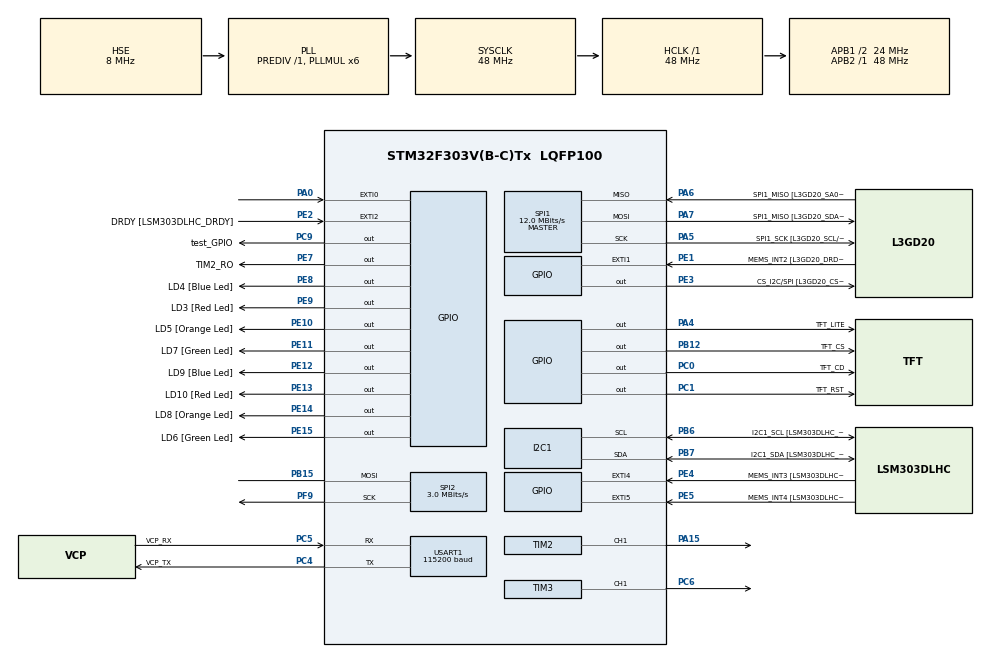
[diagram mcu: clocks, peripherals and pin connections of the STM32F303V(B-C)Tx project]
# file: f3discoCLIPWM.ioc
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I2C1.Timing-I2C=0x2000090E
Mcu.Family=STM32F3
Mcu.Name=STM32F303V(B-C)Tx
Mcu.Package=LQFP100
NVIC.EXTI0_IRQn=true\:0\:0\:false\:true\:true\:1\:true\:true\:true
NVIC.PriorityGroup=NVIC_PRIORITYGROUP_0
NVIC.TIM2_IRQn=true\:0\:0\:false\:false\:true\:true\:true\:true
NVIC.USART1_IRQn=true\:0\:0\:false\:false\:true\:true\:true\:true
PA0.Signal=GPXTI0
PA11.GPIO_Label=DM
PA11.Signal=USB_DM
PA12.GPIO_Label=DP
PA12.Signal=USB_DP
PA13.GPIO_Label=SWDIO
PA13.Mode=Serial_Wire
PA13.Signal=SYS_JTMS-SWDIO
PA14.GPIO_Label=SWCLK
PA14.Mode=Serial_Wire
PA14.Signal=SYS_JTCK-SWCLK
PA15.Signal=S_TIM2_CH1_ETR
PA4.GPIO_Label=TFT_LITE
PA4.Signal=GPIO_Output
PA5.GPIO_Label=SPI1_SCK [L3GD20_SCL/SPC]
PA5.Mode=Full_Duplex_Master
PA5.Signal=SPI1_SCK
PA6.GPIO_Label=SPI1_MISO [L3GD20_SA0/SDO]
PA6.Mode=Full_Duplex_Master
PA6.Signal=SPI1_MISO
PA7.GPIO_Label=SPI1_MISO [L3GD20_SDA/SDI/SDO]
PA7.Mode=Full_Duplex_Master
PA7.Signal=SPI1_MOSI
PB12.GPIO_Label=TFT_CS
PB12.Signal=GPIO_Output
PB15.Mode=Simplex_Bidirectional_Master
PB15.Signal=SPI2_MOSI
PB3.GPIO_Label=SWO
PB3.Signal=SYS_JTDO-TRACESWO
PB6.GPIO_Label=I2C1_SCL [LSM303DLHC_SCL]
PB6.GPIO_Pu=GPIO_PULLUP
PB6.Mode=I2C
PB6.Signal=I2C1_SCL
PB7.GPIO_Label=I2C1_SDA [LSM303DLHC_SDA]
PB7.GPIO_Pu=GPIO_PULLUP
PB7.Mode=I2C
PB7.Signal=I2C1_SDA
PC0.GPIO_Label=TFT_CD
PC0.Signal=GPIO_Output
PC1.GPIO_Label=TFT_RST
PC1.Signal=GPIO_Output
PC14-OSC32_IN.GPIO_Label=OSC32_IN
PC14-OSC32_IN.Signal=RCC_OSC32_IN
PC15-OSC32_OUT.GPIO_Label=OSC32_OUT
PC15-OSC32_OUT.Signal=RCC_OSC32_OUT
PC4.GPIO_Label=VCP_TX
PC4.Mode=Asynchronous
PC4.Signal=USART1_TX
PC5.GPIO_Label=VCP_RX
PC5.Mode=Asynchronous
PC5.Signal=USART1_RX
PC6.Signal=S_TIM3_CH1
PC9.GPIO_Label=test_GPIO
PC9.Signal=GPIO_Output
PE1.GPIO_Label=MEMS_INT2 [L3GD20_DRDY/INT2]
PE1.GPIO_ModeDefaultEXTI=GPIO_MODE_EVT_RISING
PE1.Signal=GPXTI1
PE10.GPIO_Label=LD5 [Orange Led]
PE10.Signal=GPIO_Output
PE11.GPIO_Label=LD7 [Green Led]
PE11.Signal=GPIO_Output
PE12.GPIO_Label=LD9 [Blue Led]
PE12.Signal=GPIO_Output
PE13.GPIO_Label=LD10 [Red Led]
PE13.Signal=GPIO_Output
PE14.GPIO_Label=LD8 [Orange Led]
PE14.Signal=GPIO_Output
PE15.GPIO_Label=LD6 [Green Led]
PE15.Signal=GPIO_Output
PE2.GPIO_Label=DRDY [LSM303DLHC_DRDY]
PE2.GPIO_ModeDefaultEXTI=GPIO_MODE_EVT_RISING
PE2.Signal=GPXTI2
PE3.GPIO_Label=CS_I2C/SPI [L3GD20_CS_I2C/SPI]
PE3.Signal=GPIO_Output
PE4.GPIO_Label=MEMS_INT3 [LSM303DLHC_INT1]
PE4.GPIO_ModeDefaultEXTI=GPIO_MODE_EVT_RISING
PE4.Signal=GPXTI4
PE5.GPIO_Label=MEMS_INT4 [LSM303DLHC_INT2]
PE5.GPIO_ModeDefaultEXTI=GPIO_MODE_EVT_RISING
PE5.Signal=GPXTI5
PE7.GPIO_Label=TIM2_RO
PE7.Signal=GPIO_Output
PE8.GPIO_Label=LD4 [Blue Led]
PE8.Signal=GPIO_Output
PE9.GPIO_Label=LD3 [Red Led]
PE9.Signal=GPIO_Output
PF0-OSC_IN.GPIO_Label=OSC_IN
PF0-OSC_IN.Mode=HSE-External-Clock-Source
PF0-OSC_IN.Signal=RCC_OSC_IN
PF1-OSC_OUT.GPIO_Label=OSC_OUT
PF1-OSC_OUT.Signal=RCC_OSC_OUT
PF9.Mode=Simplex_Bidirectional_Master
PF9.Signal=SPI2_SCK
ProjectManager.HeapSize=0x200
ProjectManager.StackSize=0x400
ProjectManager.TargetToolchain=STM32CubeIDE
RCC.AHBFreq_Value=48000000
RCC.APB1CLKDivider=RCC_HCLK_DIV2
RCC.APB1Freq_Value=24000000
RCC.APB1TimFreq_Value=48000000
RCC.APB2Freq_Value=48000000
RCC.APB2TimFreq_Value=48000000
RCC.CortexFreq_Value=48000000
RCC.HCLKFreq_Value=48000000
RCC.HSE_VALUE=8000000
RCC.HSI_VALUE=8000000
RCC.LSE_VALUE=32768
RCC.PLLMUL=RCC_PLL_MUL6
RCC.PLLSourceVirtual=RCC_PLLSOURCE_HSE
RCC.SYSCLKFreq_VALUE=48000000
RCC.SYSCLKSourceVirtual=RCC_SYSCLKSOURCE_PLLCLK
RCC.USBFreq_Value=48000000
SH.S_TIM2_CH1_ETR.0=TIM2_CH1,Output Compare1 CH1
SH.S_TIM3_CH1.0=TIM3_CH1,PWM Generation1 CH1
SPI1.BaudRatePrescaler=SPI_BAUDRATEPRESCALER_4
SPI1.BaudRatePrescaler-Full_Duplex_Master=SPI_BAUDRATEPRESCALER_2
SPI1.CalculateBaudRate=12.0 MBits/s
SPI1.CalculateBaudRate-Full_Duplex_Master=24.0 MBits/s
SPI1.Direction=SPI_DIRECTION_2LINES
SPI1.Mode=SPI_MODE_MASTER
SPI1.Mode-Full_Duplex_Master=SPI_MODE_MASTER
SPI1.VirtualType=VM_MASTER
SPI2.BaudRatePrescaler=SPI_BAUDRATEPRESCALER_8
SPI2.CalculateBaudRate=3.0 MBits/s
SPI2.DataSize=SPI_DATASIZE_8BIT
SPI2.Direction=SPI_DIRECTION_1LINE
SPI2.Mode=SPI_MODE_MASTER
SPI2.VirtualType=VM_MASTER
TIM2.Channel-Output\ Compare1\ CH1=TIM_CHANNEL_1
TIM2.OCMode_1=TIM_OCMODE_ACTIVE
TIM2.Period=500
TIM2.Prescaler=480
TIM2.Pulse-Output\ Compare1\ CH1=1
TIM3.Channel-PWM\ Generation1\ CH1=TIM_CHANNEL_1
TIM3.Period=500
TIM3.Prescaler=48
TIM3.Pulse-PWM\ Generation1\ CH1=200
USART1.BaudRate=115200
USART1.VirtualMode-Asynchronous=VM_ASYNC
VP_TIM2_VS_ClockSourceINT.Mode=Internal
VP_TIM2_VS_OPM.Mode=OPM_bit
VP_TIM3_VS_ClockSourceINT.Mode=Internal
board=STM32F3DISCOVERY

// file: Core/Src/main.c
/* USER CODE BEGIN Header */
/**
  ******************************************************************************
  * @file           : main.c
  * @brief          : Main program body
  ******************************************************************************
  * @attention
  *
  * Copyright (c) 2023 STMicroelectronics.
  * All rights reserved.
  *
  * This software is licensed under terms that can be found in the LICENSE file
  * in the root directory of this software component.
  * If no LICENSE file comes with this software, it is provided AS-IS.
  *
  ******************************************************************************
  */
/* USER CODE END Header */
#include "main.h"
#include "i2c.h"
#include "spi.h"
#include "tim.h"
#include "usart.h"
#include "gpio.h"

/* USER CODE BEGIN Includes */
#include <stdio.h>
#include <string.h>
#include <stdbool.h>
#include "stm32f3_discovery_accelerometer.h"
#include "console.h"
#include "LedRelated.h"
#include "level_accel.h"
#include "switch_debounce.h"
#include "../st7735/st7735.h"
#include "../st7735/fonts.h"
#include "tft_display.h"

/* USER CODE END Includes */

/* USER CODE BEGIN PV */
LevelMode_e horizontalOrVertical;
LevelMode_e previousMode;
/* USER CODE END PV */

void SystemClock_Config(void);
static void MX_NVIC_Init(void);
/* USER CODE BEGIN PFP */
void USART1_SendString(const char* str);
int __io_putchar(int ch);
int __io_getchar(int ch);
int my_getchar(void);

/* USER CODE END PFP */
#define READINGSTOAVERAGE 12

int main(void)
{
  /* USER CODE BEGIN 1 */
	AccelCalculations_t AccelInfo ={0};
	AccelCalculations_t* pAccelInfo = &AccelInfo;
  /* USER CODE END 1 */

  /* MCU Configuration--------------------------------------------------------*/

  /* Reset of all peripherals, Initializes the Flash interface and the Systick. */
  HAL_Init();

  /* Configure the system clock */
  SystemClock_Config();

  /* Initialize all configured peripherals */
  MX_GPIO_Init();
  MX_I2C1_Init();
  MX_SPI1_Init();
  MX_USART1_UART_Init();
  MX_TIM3_Init();
  MX_TIM2_Init();
  MX_SPI2_Init();

  MX_NVIC_Init();                       // Initialize interrupt control block
  /* USER CODE BEGIN 2 */

  Led_Init();                           // exercise all 8 LED's in a pinwheel pattern at startup to demonstrate they're functional

  ST7735_Init();                        // initialize the TFT display driver
  TftDisplay_Init();                    // display a brief welcome screen or test pattern on display

  HAL_TIM_PWM_Start(&htim3, TIM_CHANNEL_1);  //pwm on pin PC6 just for fun - it's on the lower right corner of F3Disco board
  //don't start this here; it will get started when the button press ISR/callback fires
  //HAL_TIM_Base_Start_IT(&htim2);            // use this timer's rollover to cause interrupt that will check switch condition
    	  	  	  	  	  	  		    	  // the code to handle this event is in switch_debounce.c

  // exercise the console code
  USART1_SendString("Hello, Green Turtles!\r\n");
  printf("******\r\n");

  // initialize the onboard accelerometer
  BSP_ACCELERO_Init();

  int16_t accelData[3] = {0};
  BSP_ACCELERO_GetXYZ(accelData);

  /* USER CODE END 2 */

  /* Infinite loop */
  while (1)
  {

    /* USER CODE BEGIN 3 */

	  ConsoleInit();

	  while(1)
	  {
		  ConsoleProcess();
		  ReadAccelDataArray(rawAccelData,  accelDataArray, READINGSTOAVERAGE);
		  AverageAccelData(accelDataArray,  pAccelInfo, READINGSTOAVERAGE);

		  horizontalOrVertical = get_current_mode();
		  TftDisplayAccelData(horizontalOrVertical, AccelInfo);
		  LedRoseDisplayBubble(horizontalOrVertical, AccelInfo);
		  HAL_Delay(500);
	  }

  }

  /* USER CODE END 3 */
}

void SystemClock_Config(void)
{
  RCC_OscInitTypeDef RCC_OscInitStruct = {0};
  RCC_ClkInitTypeDef RCC_ClkInitStruct = {0};
  RCC_PeriphCLKInitTypeDef PeriphClkInit = {0};

  /** Initializes the RCC Oscillators according to the specified parameters
  * in the RCC_OscInitTypeDef structure.
  */
  RCC_OscInitStruct.OscillatorType = RCC_OSCILLATORTYPE_HSI|RCC_OSCILLATORTYPE_HSE;
  RCC_OscInitStruct.HSEState = RCC_HSE_BYPASS;
  RCC_OscInitStruct.HSEPredivValue = RCC_HSE_PREDIV_DIV1;
  RCC_OscInitStruct.HSIState = RCC_HSI_ON;
  RCC_OscInitStruct.HSICalibrationValue = RCC_HSICALIBRATION_DEFAULT;
  RCC_OscInitStruct.PLL.PLLState = RCC_PLL_ON;
  RCC_OscInitStruct.PLL.PLLSource = RCC_PLLSOURCE_HSE;
  RCC_OscInitStruct.PLL.PLLMUL = RCC_PLL_MUL6;
  if (HAL_RCC_OscConfig(&RCC_OscInitStruct) != HAL_OK)
  {
    Error_Handler();
  }

  /** Initializes the CPU, AHB and APB buses clocks
  */
  RCC_ClkInitStruct.ClockType = RCC_CLOCKTYPE_HCLK|RCC_CLOCKTYPE_SYSCLK
                              |RCC_CLOCKTYPE_PCLK1|RCC_CLOCKTYPE_PCLK2;
  RCC_ClkInitStruct.SYSCLKSource = RCC_SYSCLKSOURCE_PLLCLK;
  RCC_ClkInitStruct.AHBCLKDivider = RCC_SYSCLK_DIV1;
  RCC_ClkInitStruct.APB1CLKDivider = RCC_HCLK_DIV2;
  RCC_ClkInitStruct.APB2CLKDivider = RCC_HCLK_DIV1;

  if (HAL_RCC_ClockConfig(&RCC_ClkInitStruct, FLASH_LATENCY_1) != HAL_OK)
  {
    Error_Handler();
  }
  PeriphClkInit.PeriphClockSelection = RCC_PERIPHCLK_USART1|RCC_PERIPHCLK_I2C1;
  PeriphClkInit.Usart1ClockSelection = RCC_USART1CLKSOURCE_PCLK2;
  PeriphClkInit.I2c1ClockSelection = RCC_I2C1CLKSOURCE_HSI;
  if (HAL_RCCEx_PeriphCLKConfig(&PeriphClkInit) != HAL_OK)
  {
    Error_Handler();
  }
}

/**
  * @brief NVIC Configuration.
  * @retval None
  */
static void MX_NVIC_Init(void)
{
  /* EXTI0_IRQn interrupt configuration */
  HAL_NVIC_SetPriority(EXTI0_IRQn, 0, 0);
  HAL_NVIC_EnableIRQ(EXTI0_IRQn);
}

/* USER CODE BEGIN 4 */
void USART1_SendString(const char* str) {
	HAL_UART_Transmit(&huart1, (uint8_t*)str, strlen(str), HAL_MAX_DELAY);
}
/**
  * @brief  Retargets the C library printf function to the USART.
  * @param  None
  * @retval None
  */
/*PUTCHAR_PROTOTYPE
{
   Place your implementation of fputc here
   e.g. write a character to the USART1 and Loop until the end of transmission
  HAL_UART_Transmit(&huart1, (uint8_t *)&ch, 1, 0xFFFF);

  return ch;
}*/

// these two functions are redefines that I added per Daniel
int __io_putchar(int ch){
	if (HAL_UART_Transmit(&huart1, (uint8_t*)&ch, 1, 0xFFFF) != HAL_OK)
		return -1;
	return 1;
}

/*
int __io_getchar(void){
	int c;
	HAL_UART_Receive(&huart1, (uint8_t*)&c, 1, 0xFFFF);
	return c;
}
*/

/*int my_getchar(void) {
	      return __io_getchar();
	  }*/
/* USER CODE END 4 */

void Error_Handler(void)
{
  __disable_irq();
  while (1)
  {
  }
}
